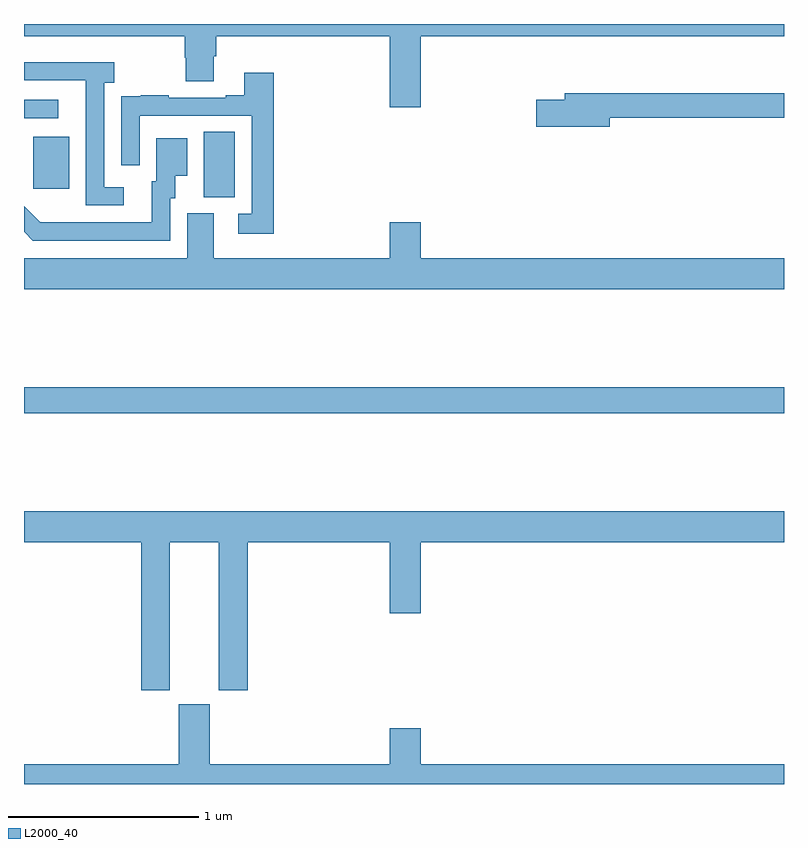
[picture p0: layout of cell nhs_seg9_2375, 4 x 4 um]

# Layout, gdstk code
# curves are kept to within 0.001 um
import gdstk
lib = gdstk.Library(unit=1e-6, precision=1e-09)
def R(c, l, rs):  # rectangles x0, y0, x1, y1
    for r in rs: c.add(gdstk.rectangle(r[:2], r[2:], *l))
def P(c, l, *ps):  # polygons
    for p in ps: c.add(gdstk.Polygon(p, *l))
L2000_40 = (2000, 40)

nhs_seg9_2375 = lib.new_cell('nhs_seg9_2375')
R(nhs_seg9_2375, L2000_40, [(247,1178.452,251,1178.588), (247.946,1179.589,248.11,1179.932), (247.049,1179.633,247.237,1179.907), (247,1180.005,247.18,1180.101)])
P(nhs_seg9_2375, L2000_40, [(249.088,1180.436),(251,1180.436),(251,1180.5),(247,1180.5),(247,1180.436),(247.847,1180.436),(247.847,1180.323),(247.852,1180.323),(247.852,1180.198),(247.999,1180.198),(247.999,1180.33),(248.012,1180.33),(248.012,1180.436),(248.924,1180.436),(248.924,1180.062),(249.088,1180.062)],
  [(247.525,1179.642),(247.422,1179.642),(247.422,1180.19),(247.474,1180.19),(247.474,1180.3),(247,1180.3),(247,1180.203),(247.325,1180.203),(247.325,1180.003),(247.326,1180.003),(247.326,1179.546),(247.525,1179.546)],
  [(248.315,1180.243),(248.159,1180.243),(248.159,1180.126),(248.063,1180.126),(248.063,1180.113),(247.763,1180.113),(247.763,1180.126),(247.615,1180.126),(247.615,1180.119),(247.513,1180.119),(247.513,1180.01),(247.512,1180.01),(247.512,1179.756),(247.608,1179.756),(247.608,1180.017),(248.199,1180.017),(248.199,1179.501),(248.127,1179.501),(248.127,1179.396),(248.315,1179.396)],
  [(250.084,1180.006),(251,1180.006),(251,1180.135),(249.845,1180.135),(249.845,1180.101),(249.696,1180.101),(249.696,1179.959),(250.084,1179.959)],
  [(247.77,1179.582),(247.795,1179.582),(247.795,1179.701),(247.858,1179.701),(247.858,1179.898),(247.697,1179.898),(247.697,1179.672),(247.673,1179.672),(247.673,1179.456),(247.086,1179.457),(247,1179.542),(247,1179.406),(247.046,1179.36),(247.77,1179.36)],
  [(251,1179.268),(249.088,1179.268),(249.088,1179.457),(248.924,1179.457),(248.924,1179.268),(247.999,1179.268),(247.999,1179.504),(247.859,1179.504),(247.859,1179.268),(247,1179.268),(247,1179.104),(251,1179.104)],
  [(247.768,1177.772),(248.024,1177.772),(248.024,1176.993),(248.177,1176.993),(248.177,1177.772),(248.924,1177.772),(248.924,1177.398),(249.088,1177.398),(249.088,1177.772),(251,1177.772),(251,1177.936),(247,1177.936),(247,1177.772),(247.616,1177.772),(247.616,1176.993),(247.768,1176.993)],
  [(249.088,1176.793),(248.924,1176.793),(248.924,1176.604),(247.978,1176.604),(247.978,1176.921),(247.814,1176.921),(247.814,1176.604),(247,1176.604),(247,1176.5),(251,1176.5),(251,1176.604),(249.088,1176.604)])

lib.write_gds('nhs_seg9_2375.gds')
